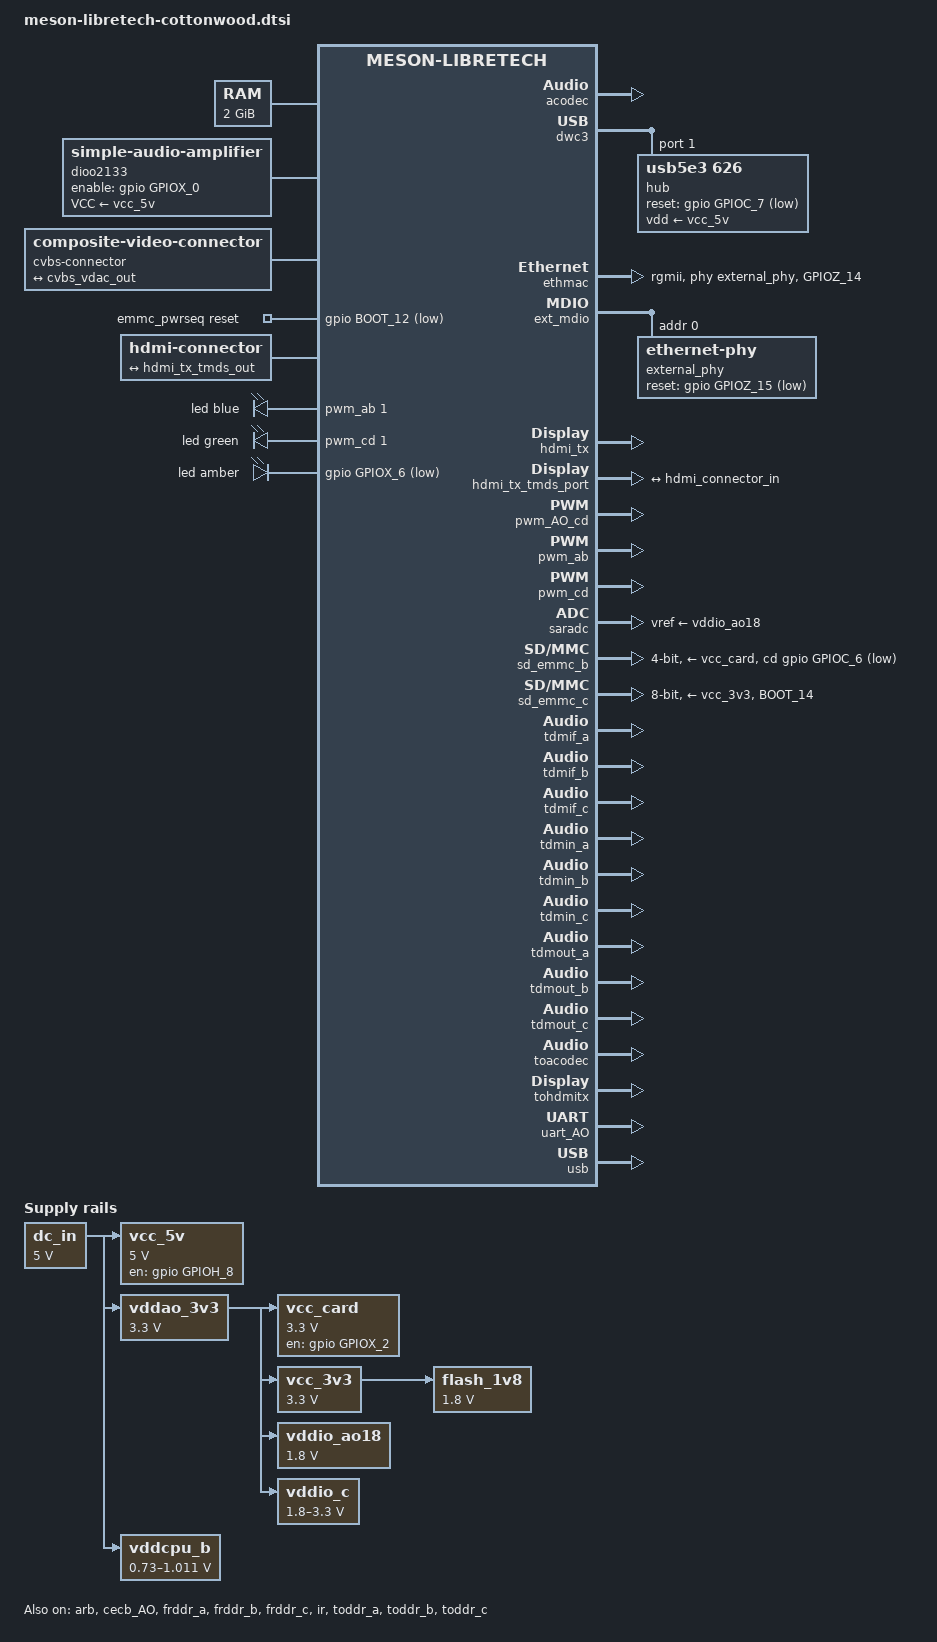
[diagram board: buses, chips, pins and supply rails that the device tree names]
// SPDX-License-Identifier: (GPL-2.0+ OR MIT)
/*
 * Copyright (c) 2023 BayLibre, SAS.
 * Author: Jerome Brunet <jbrunet@baylibre.com>
 */

#include <dt-bindings/clock/g12a-clkc.h>
#include <dt-bindings/input/input.h>
#include <dt-bindings/leds/common.h>
#include <dt-bindings/gpio/gpio.h>
#include <dt-bindings/gpio/meson-g12a-gpio.h>
#include <dt-bindings/sound/meson-g12a-toacodec.h>
#include <dt-bindings/sound/meson-g12a-tohdmitx.h>

/ {
	aliases {
		serial0 = &uart_AO;
		ethernet0 = &ethmac;
		spi0 = &spifc;
	};

	memory@0 {
		device_type = "memory";
		reg = <0x0 0x0 0x0 0x80000000>;
	};

	chosen {
		stdout-path = "serial0:115200n8";
	};

	dioo2133: audio-amplifier-0 {
		compatible = "simple-audio-amplifier";
		enable-gpios = <&gpio GPIOX_0 GPIO_ACTIVE_HIGH>;
		VCC-supply = <&vcc_5v>;
		sound-name-prefix = "10U2";
	};

	/* TOFIX: handle CVBS_DET on SARADC channel 0 */
	cvbs-connector {
		compatible = "composite-video-connector";

		port {
			cvbs_connector_in: endpoint {
				remote-endpoint = <&cvbs_vdac_out>;
			};
		};
	};

	emmc_pwrseq: emmc-pwrseq {
		compatible = "mmc-pwrseq-emmc";
		reset-gpios = <&gpio BOOT_12 GPIO_ACTIVE_LOW>;
	};

	hdmi-connector {
		compatible = "hdmi-connector";
		type = "a";

		port {
			hdmi_connector_in: endpoint {
				remote-endpoint = <&hdmi_tx_tmds_out>;
			};
		};
	};

	led-blue {
		compatible = "pwm-leds";

		led {
			color = <LED_COLOR_ID_BLUE>;
			function = LED_FUNCTION_ACTIVITY;
			linux,default-trigger = "heartbeat";
			max-brightness = <255>;
			pwms = <&pwm_ab 1 1250 0>;
			active-low;
		};
	};

	led-green {
		compatible = "pwm-leds";

		led {
			color = <LED_COLOR_ID_GREEN>;
			function = LED_FUNCTION_STATUS;
			linux,default-trigger = "default-on";
			max-brightness = <255>;
			pwms = <&pwm_cd 1 1250 0>;
			active-low;
		};
	};

	led-orange {
		compatible = "gpio-leds";

		led {
			color = <LED_COLOR_ID_AMBER>;
			function = LED_FUNCTION_STANDBY;
			gpios = <&gpio GPIOX_6 GPIO_ACTIVE_LOW>;
			panic-indicator;
		};
	};

	dc_in: regulator-dc-in {
		compatible = "regulator-fixed";
		regulator-name = "5V_IN";
		regulator-min-microvolt = <5000000>;
		regulator-max-microvolt = <5000000>;
		regulator-always-on;
	};

	flash_1v8: regulator-flash-1v8 {
		compatible = "regulator-fixed";
		regulator-name = "FLASH_1V8";
		regulator-min-microvolt = <1800000>;
		regulator-max-microvolt = <1800000>;
		regulator-always-on;
		vin-supply = <&vcc_3v3>;
	};

	vcc_card: regulator-vcc-card {
		compatible = "regulator-fixed";
		regulator-name = "VCC_CARD";
		regulator-min-microvolt = <3300000>;
		regulator-max-microvolt = <3300000>;
		vin-supply = <&vddao_3v3>;
		gpio = <&gpio GPIOX_2 (GPIO_ACTIVE_HIGH | GPIO_OPEN_DRAIN)>;
		enable-active-high;
		gpio-open-drain;
	};

	vcc_3v3: regulator-vcc-3v3 {
		compatible = "regulator-fixed";
		regulator-name = "VCC_3V3";
		regulator-min-microvolt = <3300000>;
		regulator-max-microvolt = <3300000>;
		regulator-always-on;
		vin-supply = <&vddao_3v3>;

		/* FIXME: controlled by TEST_N */
	};

	vcc_5v: regulator-vcc-5v {
		compatible = "regulator-fixed";
		regulator-name = "VCC_5V";
		regulator-min-microvolt = <5000000>;
		regulator-max-microvolt = <5000000>;
		regulator-always-on;
		vin-supply = <&dc_in>;
		gpio = <&gpio GPIOH_8 (GPIO_ACTIVE_HIGH | GPIO_OPEN_DRAIN)>;
		enable-active-high;
		gpio-open-drain;
	};

	vddao_3v3: regulator-vddao-3v3 {
		compatible = "regulator-fixed";
		regulator-name = "VDDAO_3V3";
		regulator-min-microvolt = <3300000>;
		regulator-max-microvolt = <3300000>;
		regulator-always-on;
		vin-supply = <&dc_in>;
	};

	vddcpu_b: regulator-vddcpu-b {
		compatible = "pwm-regulator";
		regulator-name = "VDDCPU_B";
		regulator-min-microvolt = <730000>;
		regulator-max-microvolt = <1011000>;
		regulator-boot-on;
		regulator-always-on;
		pwm-supply = <&dc_in>;
		pwms = <&pwm_AO_cd 1 1250 0>;
		pwm-dutycycle-range = <100 0>;
	};

	vddio_ao18: regulator-vddio-ao18 {
		compatible = "regulator-fixed";
		regulator-name = "VDDIO_AO18";
		regulator-min-microvolt = <1800000>;
		regulator-max-microvolt = <1800000>;
		regulator-always-on;
		vin-supply = <&vddao_3v3>;
	};

	vddio_c: regulator-vddio-c {
		compatible = "regulator-gpio";
		regulator-name = "VDDIO_C";
		regulator-min-microvolt = <1800000>;
		regulator-max-microvolt = <3300000>;
		regulator-settling-time-up-us = <200>;
		regulator-settling-time-down-us = <50000>;
		vin-supply = <&vddao_3v3>;
		gpios = <&gpio GPIOX_4 GPIO_ACTIVE_HIGH>;
		states = <3300000 0>,
			 <1800000 1>;
	};

	sound {
		compatible = "amlogic,axg-sound-card";
		audio-widgets = "Line", "Lineout";
		audio-aux-devs = <&tdmout_a>, <&tdmout_b>, <&tdmout_c>,
				 <&tdmin_a>, <&tdmin_b>, <&tdmin_c>,
				 <&dioo2133>;

		clocks = <&clkc CLKID_MPLL2>,
			 <&clkc CLKID_MPLL0>,
			 <&clkc CLKID_MPLL1>;

		assigned-clocks = <&clkc CLKID_MPLL2>,
				  <&clkc CLKID_MPLL0>,
				  <&clkc CLKID_MPLL1>;
		assigned-clock-parents = <0>, <0>, <0>;
		assigned-clock-rates = <294912000>,
				       <270950400>,
				       <393216000>;

		dai-link-0 {
			sound-dai = <&frddr_a>;
		};

		dai-link-1 {
			sound-dai = <&frddr_b>;
		};

		dai-link-2 {
			sound-dai = <&frddr_c>;
		};

		dai-link-3 {
			sound-dai = <&toddr_a>;
		};

		dai-link-4 {
			sound-dai = <&toddr_b>;
		};

		dai-link-5 {
			sound-dai = <&toddr_c>;
		};

		/*
		 * Audio setup: The 40 pins header provides access to 2 TDMs,
		 * SPDIF In/Out and PDM inputs.
		 * - TDM A: 2 lanes
		 *    D0:    40/X9
		 *    D1:    38/X8
		 *    BCLK:  12/X11
		 *    FS:    35/X10
		 * - TDM B: 4 lanes
		 *    D0:    37/A3
		 *    D1:    16/A4
		 *    D2:    18/A5 or 7/AO6
		 *    D3:    22/A6 or 21/H5
		 *    BCLK:  29/A1 or 8/AO8
		 *    FS:    31/A2 or 11/AO7
		 * - 2 Master Clocks:
		 *    MCLK0: 15/A0 or 10/AO9
		 *    MCLK1: 33/X15
		 * - SPDIF:
		 *    OUT:   32/A11
		 *    IN:    21/H5
		 * - PDM Input:
		 *    DO:    13/A8
		 *    D1:    26/A9
		 *    D2:    22/A6
		 *    D3:    18/A5
		 *    DCLK:  36/A7
		 *
		 * TDM C is not usable on the 40 pins connector so it is
		 * setup for the HDMI 4 lanes i2s.
		 *
		 * No pinctrl is enabled by default to preserve the
		 * genericity of the 40 pins header. Many configurations are
		 * possible based on the desired use case. Please adjust TDM
		 * masks, clock setups and pinctrl accordingly.
		 */

		dai-link-6 {
			sound-dai = <&tdmif_a>;
			dai-format = "dsp_a";
			dai-tdm-slot-tx-mask-0 = <1 1>;
			mclk-fs = <256>;

			codec-0 {
				sound-dai = <&tohdmitx TOHDMITX_I2S_IN_A>;
			};

			codec-1 {
				sound-dai = <&toacodec TOACODEC_IN_A>;
			};
		};

		dai-link-7 {
			sound-dai = <&tdmif_b>;
			dai-format = "i2s";
			dai-tdm-slot-tx-mask-0 = <1 1>;
			dai-tdm-slot-rx-mask-1 = <1 1>;
			mclk-fs = <256>;

			codec-0 {
				sound-dai = <&tohdmitx TOHDMITX_I2S_IN_B>;
			};

			codec-1 {
				sound-dai = <&toacodec TOACODEC_IN_B>;
			};
		};

		dai-link-8 {
			sound-dai = <&tdmif_c>;
			dai-format = "i2s";
			dai-tdm-slot-tx-mask-0 = <1 1>;
			dai-tdm-slot-tx-mask-1 = <1 1>;
			dai-tdm-slot-tx-mask-2 = <1 1>;
			dai-tdm-slot-tx-mask-3 = <1 1>;
			mclk-fs = <256>;

			codec-0 {
				sound-dai = <&tohdmitx TOHDMITX_I2S_IN_C>;
			};

			codec-1 {
				sound-dai = <&toacodec TOACODEC_IN_C>;
			};
		};

		dai-link-9 {
			sound-dai = <&tohdmitx TOHDMITX_I2S_OUT>;

			codec {
				sound-dai = <&hdmi_tx>;
			};
		};

		dai-link-10 {
			sound-dai = <&toacodec TOACODEC_OUT>;

			codec {
				sound-dai = <&acodec>;
			};
		};
	};
};

&acodec {
	status = "okay";
	AVDD-supply = <&vddio_ao18>;
};

&arb {
	status = "okay";
};

&cecb_AO {
	status = "okay";
	pinctrl-0 = <&cec_ao_b_h_pins>;
	pinctrl-names = "default";
	hdmi-phandle = <&hdmi_tx>;
};

&clkc_audio {
	status = "okay";
};

&cvbs_vdac_port {
	cvbs_vdac_out: endpoint {
		remote-endpoint = <&cvbs_connector_in>;
	};
};

&dwc3 {
	#address-cells = <1>;
	#size-cells = <0>;

	hub: hub@1 {
		compatible = "usb5e3,626";
		reg = <1>;
		reset-gpios = <&gpio GPIOC_7 (GPIO_ACTIVE_LOW | GPIO_OPEN_DRAIN)>;
		vdd-supply = <&vcc_5v>;
	};
};

&ethmac {
	pinctrl-0 = <&eth_pins>, <&eth_rgmii_pins>, <&eth_phy_irq_pins>;
	pinctrl-names = "default";
	status = "okay";
	phy-mode = "rgmii";
	phy-handle = <&external_phy>;
	amlogic,tx-delay-ns = <2>;
};

&ext_mdio {
	external_phy: ethernet-phy@0 {
		/* Realtek RTL8211F (0x001cc916) */
		reg = <0>;
		max-speed = <1000>;

		reset-assert-us = <100000>;
		reset-deassert-us = <100000>;
		reset-gpios = <&gpio GPIOZ_15 (GPIO_ACTIVE_LOW | GPIO_OPEN_DRAIN)>;

		interrupt-parent = <&gpio_intc>;
		/* MAC_INTR on GPIOZ_14 */
		interrupts = <26 IRQ_TYPE_LEVEL_LOW>;
	};
};

&frddr_a {
	status = "okay";
};

&frddr_b {
	status = "okay";
};

&frddr_c {
	status = "okay";
};

&hdmi_tx {
	status = "okay";
	pinctrl-0 = <&hdmitx_hpd_pins>, <&hdmitx_ddc_pins>;
	pinctrl-names = "default";
	hdmi-supply = <&vcc_5v>;
};

&hdmi_tx_tmds_port {
	hdmi_tx_tmds_out: endpoint {
		remote-endpoint = <&hdmi_connector_in>;
	};
};

&ir {
	status = "okay";
	pinctrl-0 = <&remote_input_ao_pins>;
	pinctrl-names = "default";
};

&periphs_pinctrl {
	spi_cs_disable_pins: spi-cs-disable {
		mux {
			groups = "BOOT_14";
			function = "gpio_periphs";
			bias-disable;
			output-high;
		};
	};

	eth_phy_irq_pins: eth-phy-irq {
		mux {
			groups = "GPIOZ_14";
			function = "gpio_periphs";
			bias-pull-up;
			output-disable;
		};
	};
};

&pwm_AO_cd {
	status = "okay";
	pinctrl-0 = <&pwm_ao_d_e_pins>;
	pinctrl-names = "default";
};

&pwm_ab {
	status = "okay";
	pinctrl-0 = <&pwm_b_x7_pins>;
	pinctrl-names = "default";
};

&pwm_cd {
	status = "okay";
	pinctrl-0 = <&pwm_d_x3_pins>;
	pinctrl-names = "default";
};

&saradc {
	status = "okay";
	vref-supply = <&vddio_ao18>;
};

/* SD card */
&sd_emmc_b {
	status = "okay";
	pinctrl-0 = <&sdcard_c_pins>;
	pinctrl-1 = <&sdcard_clk_gate_c_pins>;
	pinctrl-names = "default", "clk-gate";

	bus-width = <4>;
	cap-sd-highspeed;
	sd-uhs-sdr12;
	sd-uhs-sdr25;
	sd-uhs-sdr50;
	sd-uhs-sdr104;
	max-frequency = <200000000>;
	disable-wp;

	cd-gpios = <&gpio GPIOC_6 GPIO_ACTIVE_LOW>;
	vmmc-supply = <&vcc_card>;
	vqmmc-supply = <&vddio_c>;
};

/*
 * EMMC_D4, EMMC_D5, EMMC_D6 and EMMC_D7 pins are shared between SPI NOR CS
 * and eMMC Data 4 to 7 pins.
 * Replace emmc_data_8b_pins to emmc_data_4b_pins from sd_emmc_c pinctrl-0,
 * and change bus-width to 4 then spifc can be enabled.
 */
&sd_emmc_c {
	status = "okay";
	pinctrl-0 = <&emmc_ctrl_pins>, <&emmc_data_8b_pins>, <&emmc_ds_pins>,
		    <&spi_cs_disable_pins>;
	pinctrl-1 = <&emmc_clk_gate_pins>;
	pinctrl-names = "default", "clk-gate";

	bus-width = <8>;
	cap-mmc-highspeed;
	mmc-hs200-1_8v;
	max-frequency = <200000000>;
	disable-wp;

	mmc-pwrseq = <&emmc_pwrseq>;
	vmmc-supply = <&vcc_3v3>;
	vqmmc-supply = <&flash_1v8>;
};

&spifc {
	status = "disabled";
	pinctrl-0 = <&nor_pins>;
	pinctrl-names = "default";
	cs-gpios = <&gpio BOOT_14 GPIO_ACTIVE_LOW>;

	w25lq128d: flash@0 {
		compatible = "jedec,spi-nor";
		reg = <0>;
		#address-cells = <1>;
		#size-cells = <1>;
		spi-max-frequency = <80000000>;
	};
};

&tdmif_a {
	status = "okay";
};

&tdmif_b {
	status = "okay";
};

&tdmif_c {
	status = "okay";
};

&tdmin_a {
	status = "okay";
};

&tdmin_b {
	status = "okay";
};

&tdmin_c {
	status = "okay";
};

&tdmout_a {
	status = "okay";
};

&tdmout_b {
	status = "okay";
};

&tdmout_c {
	status = "okay";
};

&toacodec {
	status = "okay";
};

&toddr_a {
	status = "okay";
};

&toddr_b {
	status = "okay";
};

&toddr_c {
	status = "okay";
};

&tohdmitx {
	status = "okay";
};

&uart_AO {
	status = "okay";
	pinctrl-0 = <&uart_ao_a_pins>;
	pinctrl-names = "default";
};

&usb2_phy1 {
	phy-supply = <&dc_in>;
};

&usb3_pcie_phy {
	phy-supply = <&vcc_5v>;
};

&usb {
	status = "okay";
};
